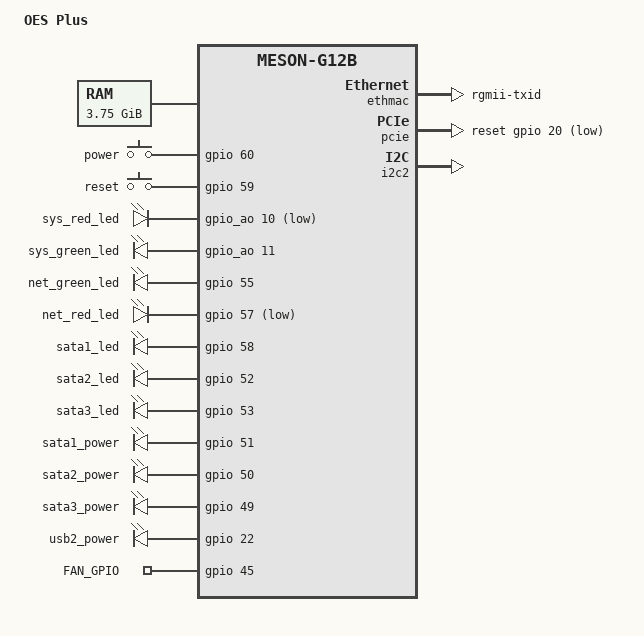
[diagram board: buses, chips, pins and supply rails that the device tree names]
// SPDX-License-Identifier: (GPL-2.0+ OR MIT)
/*
 * Copyright (c) 2019 BayLibre, SAS
 * Author: Neil Armstrong <narmstrong@baylibre.com>
 * Copyright (c) 2019 Christian Hewitt <christianshewitt@gmail.com>
 * Copyright (c) 2025 OES Plus (Based on kaitian888, revised by zjycb,caojiezi2003)
 */

/dts-v1/;

#include <dt-bindings/input/input.h>
#include <dt-bindings/gpio/gpio.h>
#include <dt-bindings/interrupt-controller/irq.h>
#include "meson-g12b-gtking-pro.dts"

/ {
	compatible = "onethingcloud,oes-plus", "amlogic,s922x", "amlogic,g12b";
	model = "OES Plus";

	aliases {
		rtc0 = &vrtc;
		/delete-property/ rtc1;
	};

	memory@0 {
		device_type = "memory";
		reg = <0x0 0x0 0x0 0xf0000000>;
	};

	/delete-node/ gpio-keys-polled;
	gpio-keys-polled {
		compatible = "gpio-keys-polled";
		poll-interval = <100>;

		power-button {
			label = "power";
			linux,code = <KEY_POWER>;
			gpios = <&gpio 60 GPIO_ACTIVE_HIGH>; /* GPIOX_28 */
		};

		reset-button {
			label = "reset";
			linux,code = <KEY_REFRESH>;
			gpios = <&gpio 59 GPIO_ACTIVE_HIGH>; /* GPIOX_27 */
		};
	};

	/delete-node/ leds;
	leds {
		compatible = "gpio-leds";

		sys_red_led {
			label = "sys_red_led";
			gpios = <&gpio_ao 10 GPIO_ACTIVE_LOW>;
			default-state = "on";
			retain-state-suspended;
		};

		sys_green_led {
			label = "sys_green_led";
			gpios = <&gpio_ao 11 GPIO_ACTIVE_HIGH>;
			default-state = "off";
			retain-state-suspended;
		};

		net_green_led {
			label = "net_green_led";
			gpios = <&gpio 55 GPIO_ACTIVE_HIGH>; /* GPIOX_23 */
			linux,default-trigger = "0.0:00:link";
			default-state = "off";
		};

		net_red_led {
			label = "net_red_led";
			gpios = <&gpio 57 GPIO_ACTIVE_LOW>; /* GPIOX_25 */
			linux,default-trigger = "0.0:00:link";
			default-state = "on";
		};

		sata1_led: sata1 {
			label = "sata1_led";
			gpios = <&gpio 58 GPIO_ACTIVE_HIGH>; /* GPIOX_26 */
			default-state = "on";
			retain-state-suspended;
		};

		sata2_led: sata2 {
			label = "sata2_led";
			gpios = <&gpio 52 GPIO_ACTIVE_HIGH>; /* GPIOX_20 */
			default-state = "off";
			retain-state-suspended;
		};

		sata3_led: sata3 {
			label = "sata3_led";
			gpios = <&gpio 53 GPIO_ACTIVE_HIGH>; /* GPIOX_21 */
			default-state = "off";
			retain-state-suspended;
		};

		sata1_power {
			label = "sata1_power";
			gpios = <&gpio 51 GPIO_ACTIVE_HIGH>;
			default-state = "on";
			retain-state-suspended;
		};

		sata2_power {
			label = "sata2_power";
			gpios = <&gpio 50 GPIO_ACTIVE_HIGH>;
			default-state = "on";
			retain-state-suspended;
		};

		sata3_power {
			label = "sata3_power";
			gpios = <&gpio 49 GPIO_ACTIVE_HIGH>;
			default-state = "on";
			retain-state-suspended;
		};

		usb2_power {
			label = "usb2_power";
			gpios = <&gpio 22 GPIO_ACTIVE_HIGH>;
			default-state = "on";
			retain-state-suspended;
		};

		fan_en {
			label = "FAN_GPIO";
			gpios = <&gpio 45 GPIO_ACTIVE_HIGH>;
			default-state = "on";
			retain-state-suspended;
		};
	};
};

&ethmac {
	phy-mode = "rgmii-txid";
	amlogic,tx-delay-ns = <0>;
};

&external_phy {
	/delete-property/ reset-gpios;
	interrupts = <26 IRQ_TYPE_EDGE_FALLING>;
};

&emmc_pwrseq {
	/delete-property/ reset-gpios;
};

&sdio_pwrseq {
	/delete-property/ reset-gpios;
};

&usb1_pow {
	/delete-property/ gpio;
	/delete-property/ enable-active-high;
	regulator-always-on;
};

&usb_pwr_en {
	/delete-property/ gpio;
	/delete-property/ enable-active-high;
	regulator-always-on;
};

&pcie {
	status = "okay";
	interrupt-names = "msi";
	reset-gpio = <&gpio 20 GPIO_ACTIVE_LOW>; /* GPIOH_4 */
};

&internal_ephy {
	status = "disabled";
};

&cecb_AO {
	status = "disable";
};

&i2c3 {
	status = "disable";
	/delete-node/ rtc@51;
};

&i2c2 {
	status = "okay";
};

&uart_A {
	bluetooth {
		status = "disabled";
	};
};

&sd_emmc_a {
	status = "disable";
};

&sd_emmc_b {
	status = "disable";
};

&sd_emmc_c {
	/delete-property/ mmc-pwrseq;
};

&usb {
	phy-names = "usb2-phy0", "usb2-phy1";
};
